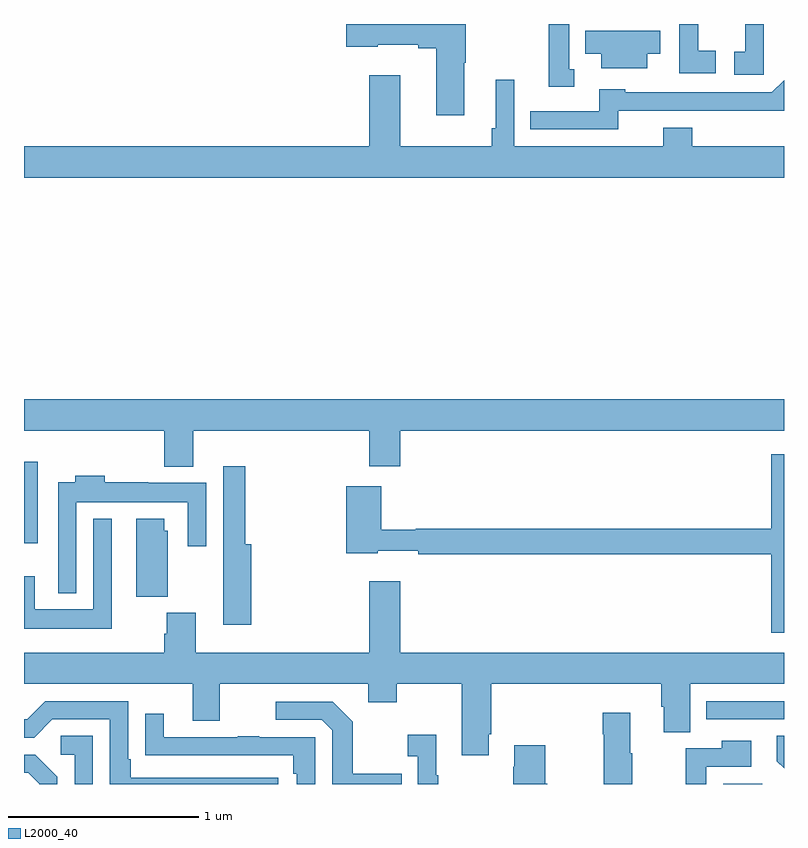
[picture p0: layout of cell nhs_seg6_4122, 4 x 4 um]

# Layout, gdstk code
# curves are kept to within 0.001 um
import gdstk
lib = gdstk.Library(unit=1e-6, precision=1e-09)
def R(c, l, rs):  # rectangles x0, y0, x1, y1
    for r in rs: c.add(gdstk.rectangle(r[:2], r[2:], *l))
def P(c, l, *ps):  # polygons
    for p in ps: c.add(gdstk.Polygon(p, *l))
L2000_40 = (2000, 40)

nhs_seg6_4122 = lib.new_cell('nhs_seg6_4122')
R(nhs_seg6_4122, L2000_40, [(358.679,921.5,358.885,921.502), (358.592,921.84,359,921.936), (355,922.766,355.072,923.197)])
P(nhs_seg6_4122, L2000_40, [(357.316,925.295),(357.324,925.295),(357.324,925.5),(356.696,925.5),(356.696,925.379),(356.862,925.379),(356.862,925.391),(357.074,925.391),(357.074,925.372),(357.17,925.372),(357.17,925.02),(357.316,925.02)],
  [(357.895,925.263),(357.87,925.263),(357.87,925.5),(357.762,925.5),(357.762,925.169),(357.895,925.169)],
  [(358.642,925.358),(358.548,925.358),(358.548,925.5),(358.449,925.5),(358.449,925.242),(358.642,925.242)],
  [(358.894,925.5),(358.795,925.5),(358.795,925.353),(358.737,925.353),(358.737,925.233),(358.894,925.233)],
  [(358.279,925.343),(358.348,925.343),(358.348,925.465),(357.955,925.465),(357.955,925.343),(358.037,925.343),(358.037,925.268),(358.279,925.268)],
  [(359,924.856),(358.517,924.856),(358.517,924.955),(358.364,924.955),(358.364,924.856),(357.579,924.856),(357.579,925.207),(357.482,925.207),(357.482,924.952),(357.463,924.952),(357.463,924.856),(356.98,924.856),(356.98,925.231),(356.816,925.231),(356.816,924.856),(355,924.856),(355,924.692),(359,924.692)],
  [(358.128,925.044),(359,925.043),(359,925.205),(358.935,925.14),(358.164,925.14),(358.164,925.156),(358.028,925.156),(358.028,925.041),(357.664,925.041),(357.664,924.945),(358.128,924.945)],
  [(355.891,923.36),(356.816,923.36),(356.816,923.172),(356.98,923.172),(356.98,923.36),(359,923.36),(359,923.524),(355,923.524),(355,923.36),(355.739,923.36),(355.739,923.171),(355.891,923.171)],
  [(359,923.236),(358.934,923.236),(358.934,922.844),(357.062,922.844),(357.062,922.837),(356.879,922.837),(356.879,923.068),(356.696,923.068),(356.696,922.715),(356.862,922.715),(356.862,922.727),(357.076,922.727),(357.076,922.708),(358.934,922.708),(358.934,922.296),(359,922.296)],
  [(356.195,922.762),(356.165,922.762),(356.165,923.173),(356.049,923.173),(356.049,922.658),(356.048,922.658),(356.048,922.338),(356.195,922.338)],
  [(355.275,922.982),(355.863,922.982),(355.863,922.752),(355.959,922.752),(355.959,923.086),(355.655,923.086),(355.655,923.089),(355.424,923.089),(355.424,923.122),(355.271,923.122),(355.271,923.089),(355.179,923.089),(355.179,922.505),(355.275,922.505)],
  [(355.756,922.833),(355.738,922.833),(355.738,922.897),(355.592,922.897),(355.592,922.486),(355.756,922.486)],
  [(355.462,922.897),(355.365,922.897),(355.365,922.42),(355.056,922.42),(355.056,922.594),(355,922.594),(355,922.316),(355.462,922.316)],
  [(357.445,921.763),(357.458,921.763),(357.458,922.028),(358.355,922.028),(358.355,921.906),(358.367,921.906),(358.367,921.772),(358.507,921.772),(358.507,922.028),(359,922.028),(359,922.192),(356.98,922.192),(356.98,922.567),(356.816,922.567),(356.816,922.192),(355.904,922.192),(355.904,922.401),(355.751,922.401),(355.751,922.292),(355.739,922.292),(355.739,922.192),(355,922.192),(355,922.028),(355.889,922.028),(355.889,921.834),(356.029,921.834),(356.029,922.028),(356.813,922.028),(356.813,921.929),(356.961,921.929),(356.961,922.028),(357.305,922.028),(357.305,921.651),(357.445,921.651)],
  [(356.338,921.534),(355.561,921.534),(355.561,921.631),(355.548,921.631),(355.548,921.936),(355.113,921.936),(355.017,921.84),(355,921.84),(355,921.744),(355.053,921.744),(355.149,921.84),(355.452,921.84),(355.452,921.5),(356.338,921.5)],
  [(356.987,921.555),(356.731,921.555),(356.731,921.827),(356.625,921.933),(356.325,921.933),(356.325,921.837),(356.568,921.837),(356.622,921.783),(356.622,921.5),(356.987,921.5)],
  [(358.2,921.661),(358.192,921.661),(358.192,921.874),(358.046,921.874),(358.046,921.761),(358.051,921.761),(358.051,921.5),(358.2,921.5)],
  [(356.532,921.747),(356.237,921.747),(356.237,921.752),(356.125,921.752),(356.125,921.747),(355.735,921.747),(355.735,921.871),(355.639,921.871),(355.639,921.652),(355.741,921.652),(355.741,921.651),(356.416,921.651),(356.416,921.554),(356.436,921.554),(356.436,921.5),(356.532,921.5)],
  [(357.181,921.547),(357.169,921.547),(357.169,921.76),(357.021,921.76),(357.021,921.647),(357.072,921.647),(357.072,921.5),(357.181,921.5)],
  [(359,921.755),(358.963,921.755),(358.963,921.619),(359,921.582)],
  [(355.362,921.755),(355.194,921.755),(355.194,921.654),(355.266,921.654),(355.266,921.5),(355.362,921.5)],
  [(358.59,921.591),(358.828,921.591),(358.828,921.727),(358.672,921.727),(358.672,921.687),(358.482,921.687),(358.482,921.5),(358.59,921.5)],
  [(357.754,921.501),(357.744,921.501),(357.744,921.703),(357.581,921.703),(357.581,921.59),(357.574,921.59),(357.574,921.5),(357.754,921.5)],
  [(355.176,921.538),(355.06,921.654),(355,921.654),(355,921.558),(355.022,921.558),(355.079,921.501),(355.079,921.5),(355.176,921.5)])

lib.write_gds('nhs_seg6_4122.gds')
